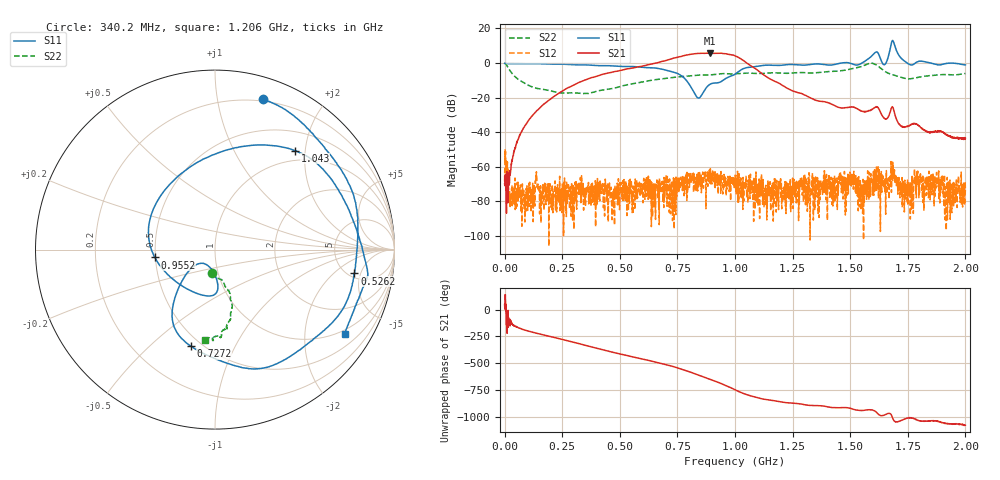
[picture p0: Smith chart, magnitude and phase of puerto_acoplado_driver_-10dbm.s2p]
# Hz S DB R 50
! CMT, M5065, 19127446, 23.4.5/2
! Date: 23/9/2024 23:58:13
! Data: Format (Calibration Info)
! Freq	S11:dB/Ang(F2)	S21:dB/Ang(F2)	S12:dB/Ang(F2)	S22:dB/Ang(F2)
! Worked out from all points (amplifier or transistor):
!   2001 points, 300 kHz to 2 GHz, reference 50 ohm
!   highest |S21| = 5.7 dB at 890.2 MHz (marker M1)
!   |S21| within 3 dB of that: 731.6 MHz to 1.021 GHz (289.8 MHz wide, 33.1 % of centre)
!   unconditionally stable (mu >= 1): 870 kHz to 1.464 GHz; 1.497 GHz to 1.552 GHz; 1.847 GHz to end of sweep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
!   at 333.3 MHz: K = 4084.09, MAG = -4.3 dB, |S12| = -80.3 dB
!   at 1 GHz: K = 515.97, MAG = 6.3 dB, |S12| = -68.8 dB
!   at 2 GHz: K = 67601.99, MAG = -36.0 dB, |S12| = -74.2 dB
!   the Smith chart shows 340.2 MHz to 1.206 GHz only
!   S11 on the Smith chart (normalised r, x): 340.2 MHz: 0.18, +1.35; 526.2 MHz: 5.62, -3.93; 727.2 MHz: 0.44, -0.68; 955.2 MHz: 0.50, -0.05; 1.043 GHz: 0.81, +1.80; 1.206 GHz: 0.87, -3.17
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300000  -0.29 179.2  -70.02 46.2  -68.53 72.3  0.02 -1.2
1.082838e8  -0.51 151.0  -32.50 157.2  -69.71 -80.0  -13.21 -104.1
3.342499e8  -1.11 75.0  -10.69 36.7  -65.22 88.8  -17.67 -97.6
3.40249e8  -1.12 72.4  -10.37 33.2  -74.50 94.5  -17.70 -96.7
5.262211e8  -2.07 -9.7  -3.60 -65.3  -68.51 9.7  -12.80 -73.1
6.672e8  -3.18 -73.1  0.23 -134.5  -71.40 -33.7  -9.47 -73.5
7.27191e8  -5.11 -104.0  2.49 -167.3  -76.58 16.3  -8.40 -76.8
8.011798e8  -12.30 -137.2  4.79 142.1  -71.72 -49.7  -7.53 -80.3
8.901665e8  -12.48 -87.7  5.68 72.4  -67.82 -136.1  -6.94 -84.1
9.551568e8  -9.42 -172.5  5.35 17.9  -65.64 115.1  -6.20 -86.6
1.00015e9  -6.55 110.8  4.08 -25.9  -68.83 112.5  -6.33 -89.3
1.043144e9  -2.99 51.1  0.77 -65.6  -69.38 78.5  -5.96 -91.6
1.206119e9  -1.29 -32.9  -12.99 -141.9  -80.58 35.1  -5.94 -96.3
1.3341e9  -0.80 -53.0  -20.59 -172.0  -77.03 -54.7  -5.83 -102.8
1.544068e9  -0.63 -74.7  -27.56 140.6  -68.10 -141.3  -2.29 -129.3
1.609059e9  6.07 -15.0  -25.61 133.4  -69.06 51.7  -0.84 178.3
1.66705e9  4.42 -88.4  -30.69 114.2  -66.52 -126.5  -6.08 147.8
1.679048e9  11.52 -106.7  -26.03 99.0  -74.84 -68.6  -6.64 145.7
1.692046e9  10.53 -158.5  -28.68 42.6  -61.79 105.9  -7.14 145.0
1.703045e9  6.48 -158.7  -33.17 35.9  -69.60 141.4  -7.58 144.8
1.751037e9  -0.42 -89.1  -36.55 70.9  -69.19 -130.1  -9.21 138.8
2e9  -1.13 -115.5  -43.66 4.3  -74.22 -62.5  -6.09 86.6
